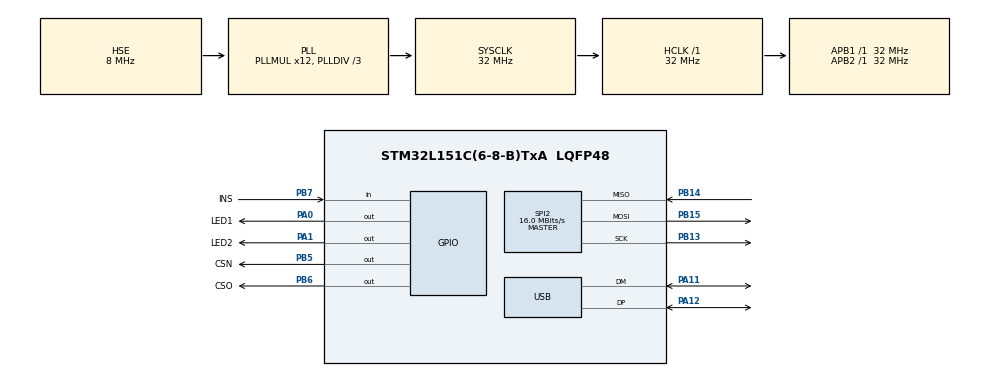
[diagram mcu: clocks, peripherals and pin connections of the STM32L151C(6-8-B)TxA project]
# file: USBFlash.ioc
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Dma.Request0=SPI2_TX
Dma.Request1=SPI2_RX
Dma.SPI2_RX.1.Direction=DMA_PERIPH_TO_MEMORY
Dma.SPI2_RX.1.Instance=DMA1_Channel4
Dma.SPI2_RX.1.MemDataAlignment=DMA_MDATAALIGN_BYTE
Dma.SPI2_RX.1.MemInc=DMA_MINC_ENABLE
Dma.SPI2_RX.1.Mode=DMA_NORMAL
Dma.SPI2_RX.1.PeriphDataAlignment=DMA_PDATAALIGN_BYTE
Dma.SPI2_RX.1.PeriphInc=DMA_PINC_DISABLE
Dma.SPI2_RX.1.Priority=DMA_PRIORITY_LOW
Dma.SPI2_TX.0.Direction=DMA_MEMORY_TO_PERIPH
Dma.SPI2_TX.0.Instance=DMA1_Channel5
Dma.SPI2_TX.0.MemDataAlignment=DMA_MDATAALIGN_BYTE
Dma.SPI2_TX.0.MemInc=DMA_MINC_ENABLE
Dma.SPI2_TX.0.Mode=DMA_NORMAL
Dma.SPI2_TX.0.PeriphDataAlignment=DMA_PDATAALIGN_BYTE
Dma.SPI2_TX.0.PeriphInc=DMA_PINC_DISABLE
Dma.SPI2_TX.0.Priority=DMA_PRIORITY_MEDIUM
Mcu.Family=STM32L1
Mcu.Name=STM32L151C(6-8-B)TxA
Mcu.Package=LQFP48
NVIC.DMA1_Channel4_IRQn=true\:0\:0\:false\:false\:true\:false\:true
NVIC.DMA1_Channel5_IRQn=true\:0\:0\:false\:false\:true\:false\:true
NVIC.PriorityGroup=NVIC_PRIORITYGROUP_4
NVIC.USB_LP_IRQn=true\:1\:0\:true\:false\:true\:false\:true
PA0-WKUP1.GPIO_Label=LED1
PA0-WKUP1.Signal=GPIO_Output
PA1.GPIO_Label=LED2
PA1.Signal=GPIO_Output
PA11.Mode=Device
PA11.Signal=USB_DM
PA12.Mode=Device
PA12.Signal=USB_DP
PA13.Mode=Serial_Wire
PA13.Signal=SYS_JTMS-SWDIO
PA14.Mode=Serial_Wire
PA14.Signal=SYS_JTCK-SWCLK
PB13.Mode=Full_Duplex_Master
PB13.Signal=SPI2_SCK
PB14.Mode=Full_Duplex_Master
PB14.Signal=SPI2_MISO
PB15.Mode=Full_Duplex_Master
PB15.Signal=SPI2_MOSI
PB5.GPIO_Label=CSN
PB5.GPIO_Speed=GPIO_SPEED_FREQ_VERY_HIGH
PB5.PinState=GPIO_PIN_SET
PB5.Signal=GPIO_Output
PB6.GPIO_Label=CSO
PB6.GPIO_Speed=GPIO_SPEED_FREQ_VERY_HIGH
PB6.PinState=GPIO_PIN_SET
PB6.Signal=GPIO_Output
PB7.GPIO_Label=INS
PB7.Signal=GPIO_Input
PH0-OSC_IN.Mode=HSE-External-Oscillator
PH0-OSC_IN.Signal=RCC_OSC_IN
PH1-OSC_OUT.Mode=HSE-External-Oscillator
PH1-OSC_OUT.Signal=RCC_OSC_OUT
ProjectManager.HeapSize=0x200
ProjectManager.StackSize=0x400
ProjectManager.TargetToolchain=STM32CubeIDE
RCC.48MHZClocksFreq_Value=48000000
RCC.AHBFreq_Value=32000000
RCC.APB1Freq_Value=32000000
RCC.APB1TimFreq_Value=32000000
RCC.APB2Freq_Value=32000000
RCC.APB2TimFreq_Value=32000000
RCC.HCLKFreq_Value=32000000
RCC.HSE_VALUE=8000000
RCC.HSI_VALUE=16000000
RCC.LSE_VALUE=32768
RCC.MSI_VALUE=2097000
RCC.PLLDIV=RCC_PLL_DIV3
RCC.PLLMUL=RCC_PLL_MUL12
RCC.SYSCLKFreq_VALUE=32000000
RCC.SYSCLKSource=RCC_SYSCLKSOURCE_PLLCLK
RCC.VCOOutputFreq_Value=96000000
SPI2.CalculateBaudRate=16.0 MBits/s
SPI2.Direction=SPI_DIRECTION_2LINES
SPI2.Mode=SPI_MODE_MASTER
SPI2.VirtualType=VM_MASTER
USB_DEVICE.CLASS_NAME_FS=MSC
USB_DEVICE.MSC_MEDIA_PACKET=512
USB_DEVICE.PID_MSC_FS=22315
USB_DEVICE.USBD_MAX_NUM_CONFIGURATION=2
USB_DEVICE.USBD_MAX_NUM_INTERFACES=1
USB_DEVICE.USBD_SELF_POWERED=1
USB_DEVICE.VirtualMode=Msc
USB_DEVICE.VirtualModeFS=Msc_FS
VP_USB_DEVICE_VS_USB_DEVICE_MSC_FS.Mode=MSC_FS
board=custom

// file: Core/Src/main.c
/* USER CODE BEGIN Header */
/**
  ******************************************************************************
  * @file           : main.c
  * @brief          : Main program body
  ******************************************************************************
  * @attention
  *
  * <h2><center>&copy; Copyright (c) 2021 STMicroelectronics.
  * All rights reserved.</center></h2>
  *
  * This software component is licensed by ST under BSD 3-Clause license,
  * the "License"; You may not use this file except in compliance with the
  * License. You may obtain a copy of the License at:
  *                        opensource.org/licenses/BSD-3-Clause
  *
  ******************************************************************************
  */
/* USER CODE END Header */
#include "main.h"
#include "dma.h"
#include "spi.h"
#include "usb_device.h"
#include "gpio.h"

/* USER CODE BEGIN Includes */

#include "at45db081e.h"
#include "device_state.h"
#include "led.h"

/* USER CODE END Includes */

/* USER CODE BEGIN PD */

#define CLEAR_FLASH	0

/* USER CODE END PD */

/* USER CODE BEGIN PV */

extern struct dev_state state;
extern struct led_state sys_led_green;
extern struct led_state sys_led_red;

/* USER CODE END PV */

void SystemClock_Config(void);

int main(void)
{
  /* USER CODE BEGIN 1 */

	uint16_t led_tmr = 0;

  /* USER CODE END 1 */

  /* MCU Configuration--------------------------------------------------------*/

  /* Reset of all peripherals, Initializes the Flash interface and the Systick. */
  HAL_Init();

  /* Configure the system clock */
  SystemClock_Config();

  /* Initialize all configured peripherals */
  MX_GPIO_Init();
  MX_DMA_Init();
  //MX_USB_DEVICE_Init();
  MX_SPI2_Init();
  /* USER CODE BEGIN 2 */

  init_device();

#if CLEAR_FLASH

  static volatile uint8_t tmp[256];

  for(uint16_t i=0;i<256;i++) tmp[i] = 0;
  for(uint16_t p_num=0;p_num<4096;p_num++) {
	  at45_write_page(1, p_num, (uint8_t*)tmp);
	  at45_write_page(2, p_num, (uint8_t*)tmp);
	  HAL_GPIO_TogglePin(LED1_GPIO_Port, LED1_Pin);
  }

#endif

  init_leds();

  /* USER CODE END 2 */

  /* Infinite loop */
  /* USER CODE BEGIN WHILE */
  while (1)
  {
	  check_insert();
	  if(state.insert && state.dev_init==0) init_device();
	  if((state.usb_init==0) && state.insert) {
		  MX_USB_DEVICE_Init();
		  state.usb_init = 1;
	  }
	  HAL_Delay(1);
	  led_tmr++;
	  if(state.insert==0) {	// не вставлена память (одна вспышка красным)
		  if(led_tmr==100) sys_led_red.on_cmd = 1;
	  }else {
		  if(state.flash1_error) { // неисправность памяти (2 вспышки красным)
			  if(led_tmr==100 || led_tmr==200) sys_led_red.on_cmd = 1;
		  }else {
			  if(led_tmr==100) sys_led_green.on_cmd = 1;	// вспышки зелёным раз в секунду
			  if(state.usb_cmd) {	// вспышки при работе USB с памятью
				  state.usb_cmd = 0;
				  sys_led_green.on_cmd = 1;
			  }
		  }
	  }
	  if(led_tmr>=1000) {
		  led_tmr = 0;
		  if(state.insert && (state.flash1_error || state.flash2_error)) init_device();
	  }
	  led_cycle(1);
    /* USER CODE END WHILE */

  }
}

void SystemClock_Config(void)
{
  RCC_OscInitTypeDef RCC_OscInitStruct = {0};
  RCC_ClkInitTypeDef RCC_ClkInitStruct = {0};

  /** Configure the main internal regulator output voltage
  */
  __HAL_PWR_VOLTAGESCALING_CONFIG(PWR_REGULATOR_VOLTAGE_SCALE1);
  /** Initializes the RCC Oscillators according to the specified parameters
  * in the RCC_OscInitTypeDef structure.
  */
  RCC_OscInitStruct.OscillatorType = RCC_OSCILLATORTYPE_HSE;
  RCC_OscInitStruct.HSEState = RCC_HSE_ON;
  RCC_OscInitStruct.PLL.PLLState = RCC_PLL_ON;
  RCC_OscInitStruct.PLL.PLLSource = RCC_PLLSOURCE_HSE;
  RCC_OscInitStruct.PLL.PLLMUL = RCC_PLL_MUL12;
  RCC_OscInitStruct.PLL.PLLDIV = RCC_PLL_DIV3;
  if (HAL_RCC_OscConfig(&RCC_OscInitStruct) != HAL_OK)
  {
    Error_Handler();
  }
  /** Initializes the CPU, AHB and APB buses clocks
  */
  RCC_ClkInitStruct.ClockType = RCC_CLOCKTYPE_HCLK|RCC_CLOCKTYPE_SYSCLK
                              |RCC_CLOCKTYPE_PCLK1|RCC_CLOCKTYPE_PCLK2;
  RCC_ClkInitStruct.SYSCLKSource = RCC_SYSCLKSOURCE_PLLCLK;
  RCC_ClkInitStruct.AHBCLKDivider = RCC_SYSCLK_DIV1;
  RCC_ClkInitStruct.APB1CLKDivider = RCC_HCLK_DIV1;
  RCC_ClkInitStruct.APB2CLKDivider = RCC_HCLK_DIV1;

  if (HAL_RCC_ClockConfig(&RCC_ClkInitStruct, FLASH_LATENCY_1) != HAL_OK)
  {
    Error_Handler();
  }
}

void Error_Handler(void)
{
  __disable_irq();
  while (1)
  {
  }
}

/************************ (C) COPYRIGHT STMicroelectronics *****END OF FILE****/
